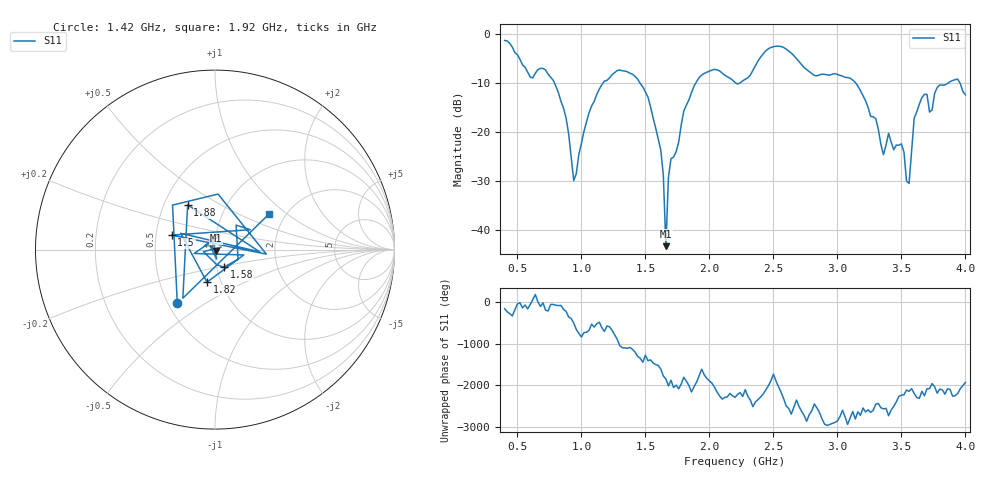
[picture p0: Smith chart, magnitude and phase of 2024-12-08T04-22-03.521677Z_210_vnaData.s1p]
!Created with skrf (http://scikit-rf.org).
# Hz S RI R 50.0
!freq ReS11 ImS11
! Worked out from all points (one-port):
!   181 points, 400 MHz to 4 GHz, reference 50 ohm
!   lowest |S11| = -43.3 dB at 1.66 GHz (marker M1), VSWR 1.01, Z = 50.4 - j0.54 ohm
!   |S11| at or under -10 dB: 788.2 MHz to 1.171 GHz (382.3 MHz wide, 39 % of centre); 1.456 GHz to 1.895 GHz (439.1 MHz wide, 26.2 % of centre); 3.141 GHz to 3.869 GHz (727.3 MHz wide, 20.8 % of centre) (the widest 3 of 5)
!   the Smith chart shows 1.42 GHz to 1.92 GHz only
!   S11 on the Smith chart (normalised r, x): 1.42 GHz: 0.56, -0.38; 1.5 GHz: 0.60, +0.10; 1.58 GHz: 1.08, -0.21; 1.82 GHz: 0.86, -0.32; 1.88 GHz: 0.66, +0.36; 1.92 GHz: 1.65, +0.74
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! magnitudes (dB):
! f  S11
! 400 MHz  -1.4
! 720 MHz  -7.4
! 860 MHz  -15.2
! 940 MHz  -29.9
! 1.08 GHz  -14.7
! 1.3 GHz  -7.4
! 1.42 GHz  -8.8
! 1.5 GHz  -11.9
! 1.58 GHz  -19.2
! 1.64 GHz  -28.8
! 1.66 GHz  -43.3
! 1.68 GHz  -29.2
! 1.76 GHz  -22.1
! 1.82 GHz  -14.6
! 1.88 GHz  -10.7
! 1.92 GHz  -9.0
! 2.2 GHz  -9.9
! 2.48 GHz  -2.8
! 2.66 GHz  -4.5
! 3.1 GHz  -9.1
! 3.3 GHz  -17.3
! 3.36 GHz  -24.6
! 3.4 GHz  -20.3
! 3.5 GHz  -22.4
! 3.56 GHz  -30.5
! 3.6 GHz  -17.2
! 3.66 GHz  -13.0
! 4 GHz  -12.5
